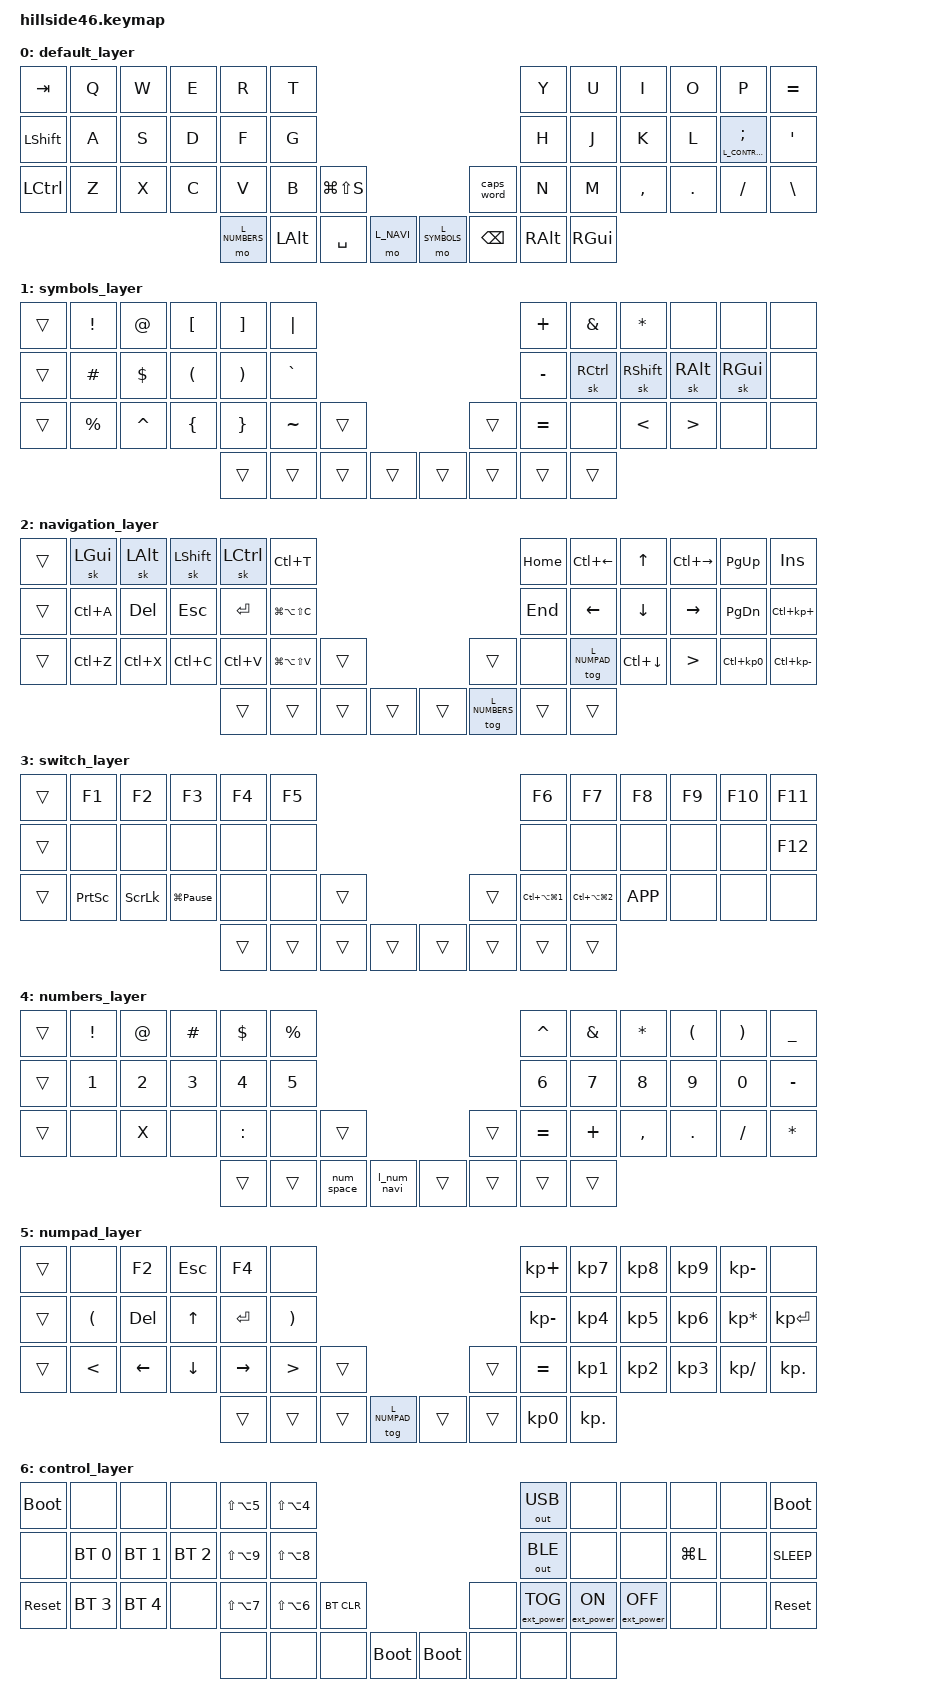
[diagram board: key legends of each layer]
/*
 * Copyright (c) 2021-2022 The ZMK Contributors
 *
 * SPDX-License-Identifier: MIT
 */

#include <behaviors.dtsi>
#include <dt-bindings/zmk/bt.h>
#include <dt-bindings/zmk/ext_power.h>
#include <dt-bindings/zmk/keys.h>
#include <dt-bindings/zmk/outputs.h>


#define  L_QWERTY       0
#define  L_SYMBOLS      1
#define  L_NAVI         2
#define  L_SWITCH       3
#define  L_NUMBERS      4
#define  L_NUMPAD       5
#define  L_CONTROL       6

#define QWERTY_L 0
#define DVORAK_L 1
#define COLEMK_L 2
#define NAV_L    3
#define SYM_L    4
#define ADJ_L    5

#define DITTO    LG(LA(LS(V)))
#define TO_PASTE LG(LA(LS(C)))

#define F_ZONE_1 LC(LA(LG(1)))
#define F_ZONE_2 LC(LA(LG(2)))

#define LI_ON LS(LA(N5))
#define CA_ON LS(LA(N9))
#define ST_ON LS(LA(N7))

#define LI_OFF LS(LA(N4))
#define CA_OFF LS(LA(N8))
#define ST_OFF LS(LA(N6))

#define SYSPROP  LG(PAUSE_BREAK)

/ {
        conditional_layers {
            compatible = "zmk,conditional-layers";
            tri_layer {
                if-layers = <1 2>;
                then-layer = <3>;
            };
        };
        combos {
                compatible = "zmk,combos";
                qw_gui {
                        timeout-ms = <50>;
                        key-positions = <1 2>;
                        layers = <0>;
                        slow-release;
                        bindings = <&kp LGUI>;
                };
                rt_numpad {
                        timeout-ms = <50>;
                        key-positions = <32 46>;
                        layers = <0>;
                        slow-release;
                        bindings = <&tog L_NUMBERS>;
                };
        };
        macros {
                l_num_navi: l_num_navi {
                        compatible = "zmk,behavior-macro";
                        #binding-cells = <0>;
                        bindings =
                                <&macro_press &mo L_NAVI>
                                , <&tog L_NUMBERS>
                                , <&macro_pause_for_release>
                                , <&macro_release &mo L_NAVI>
                                ;   
                };
                num_space: num_space {
                        compatible = "zmk,behavior-macro";
                        #binding-cells = <0>;
                        bindings =
                                <&kp SPACE>
                                , <&tog L_NUMBERS>
                                ;   
                };
        };
        keymap {
                compatible = "zmk,keymap";

                default_layer {
                        bindings = <
&kp  TAB      &kp  Q   &kp  W        &kp  E       &kp  R         &kp  T                                                                      &kp  Y        &kp  U        &kp  I        &kp  O        &kp  P                &kp  EQUAL
&kp  LSHIFT   &kp  A   &kp  S        &kp  D       &kp  F         &kp  G                                                                      &kp  H        &kp  J        &kp  K        &kp  L        &lt  L_CONTROL SEMI   &kp  SINGLE_QUOTE
&kp  LCTRL    &kp  Z   &kp  X        &kp  C       &kp  V         &kp  B        &kp  LG(LS(S))                                  &caps_word    &kp  N        &kp  M        &kp  COMMA    &kp  DOT      &kp  SLASH            &kp  BACKSLASH
                                                  &mo  L_NUMBERS &kp  LALT     &kp  SPACE   &mo  L_NAVI       &mo  L_SYMBOLS   &kp  BSPC     &kp  RALT     &kp  RGUI
                        >;
                };

                symbols_layer {
                        bindings = <    
&trans   &kp  EXCL     &kp  AT       &kp  LBKT     &kp  RBKT     &kp  PIPE                                                       &kp  PLUS     &kp  AMPS     &kp  ASTRK    &none         &none         &none
&trans   &kp  HASH     &kp  DOLLAR   &kp  LPAR     &kp  RPAR     &kp  GRAVE                                                      &kp  MINUS    &sk  RCTRL    &sk  RSHIFT   &sk  RALT     &sk  RGUI     &none
&trans   &kp  PERCENT  &kp  CARET    &kp  LBRC     &kp  RBRC     &kp  TILDE    &trans                                   &trans   &kp  EQUAL    &none         &kp  LT       &kp  GT       &none         &none
                                                   &trans        &trans        &trans    &trans                &trans   &trans   &trans        &trans
                        >;
                };

                navigation_layer {
                        bindings = <
&trans   &sk  LGUI     &sk  LALT     &sk  LSHIFT   &sk  LCTRL    &kp  LC(T)                                                      &kp  HOME     &kp  LC(LEFT)  &kp  UP        &kp  LC(RIGHT)  &kp  PG_UP      &kp  INS
&trans   &kp  LC(A)    &kp  DELETE   &kp  ESC      &kp  ENTER    &kp  TO_PASTE                                                   &kp  END      &kp  LEFT      &kp  DOWN      &kp  RIGHT      &kp  PG_DN      &kp  LC(KP_PLUS)
&trans   &kp  LC(Z)    &kp  LC(X)    &kp  LC(C)    &kp  LC(V)    &kp  DITTO    &trans                                   &trans   &none         &tog L_NUMPAD  &kp  LC(DOWN)  &kp  GT         &kp  LC(KP_N0)  &kp  LC(KP_MINUS)
                                                   &trans        &trans        &trans    &trans                &trans   &tog L_NUMBERS  &trans        &trans
                        >;
                };

                switch_layer {
                        bindings = <
&trans   &kp  F1       &kp  F2       &kp  F3       &kp  F4       &kp  F5                                                         &kp F6        &kp F7        &kp F8        &kp F9         &kp F10       &kp  F11
&trans   &none         &none         &none         &none         &none                                                           &none         &none         &none         &none          &none         &kp  F12
&trans   &kp  PSCRN    &kp  SLCK     &kp  SYSPROP  &none         &none         &trans                                   &trans   &kp F_ZONE_1  &kp F_ZONE_2  &kp  K_APP    &none          &none         &none
                                                   &trans        &trans        &trans    &trans                &trans   &trans   &trans        &trans
                        >;
                };

                numbers_layer {
                        bindings = <
&trans   &kp  EXCL     &kp  AT       &kp  HASH     &kp  DOLLAR   &kp  PERCENT                                                    &kp  CARET    &kp  AMPS     &kp  ASTRK    &kp  LPAR      &kp  RPAR     &kp  UNDER
&trans   &kp  N1       &kp  N2       &kp  N3       &kp  N4       &kp  N5                                                         &kp  N6       &kp  N7       &kp  N8       &kp  N9        &kp  N0       &kp  MINUS
&trans   &none         &kp  X        &none         &kp COLON     &none         &trans                                   &trans   &kp  EQUAL    &kp  PLUS     &kp  COMMA    &kp  DOT       &kp  SLASH    &kp  ASTRK
                                                   &trans        &trans        &num_space &l_num_navi          &trans   &trans   &trans        &trans
                        >;
                };

                numpad_layer {
                        bindings = <
&trans   &none         &kp  F2       &kp  ESC      &kp  F4       &none                                                           &kp  KP_PLUS    &kp  KP_N7   &kp  KP_N8   &kp  KP_N9     &kp  KP_MINUS     &none
&trans   &kp  LPAR     &kp  DELETE   &kp  UP       &kp  ENTER    &kp  RPAR                                                       &kp  KP_MINUS   &kp  KP_N4   &kp  KP_N5   &kp  KP_N6     &kp  KP_ASTERISK  &kp  KP_ENTER
&trans   &kp  LT       &kp  LEFT     &kp  DOWN     &kp  RIGHT    &kp GT        &trans                                   &trans   &kp  EQUAL      &kp  KP_N1   &kp  KP_N2   &kp  KP_N3     &kp  KP_SLASH     &kp  KP_DOT
                                                   &trans        &trans        &trans    &tog L_NUMPAD         &trans   &trans   &kp  KP_N0      &kp  KP_DOT
                        >;
                };

                control_layer {
                        bindings = <
&bootloader   &none           &none           &none           &kp LI_ON    &kp LI_OFF                                                    &out  OUT_USB       &none               &none               &none       &none   &bootloader
&none         &bt  BT_SEL 0   &bt  BT_SEL 1   &bt  BT_SEL 2   &kp CA_ON    &kp CA_OFF                                                    &out  OUT_BLE       &none               &none               &kp LG(L)   &none   &kp C_SLEEP
&sys_reset    &bt  BT_SEL 3   &bt  BT_SEL 4   &none           &kp ST_ON    &kp ST_OFF   &bt BT_CLR                              &none    &ext_power EP_TOG   &ext_power EP_ON    &ext_power EP_OFF   &none       &none   &sys_reset
                                                              &none        &none        &none    &bootloader      &bootloader   &none    &none               &none
                        >;
                };
        };
};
